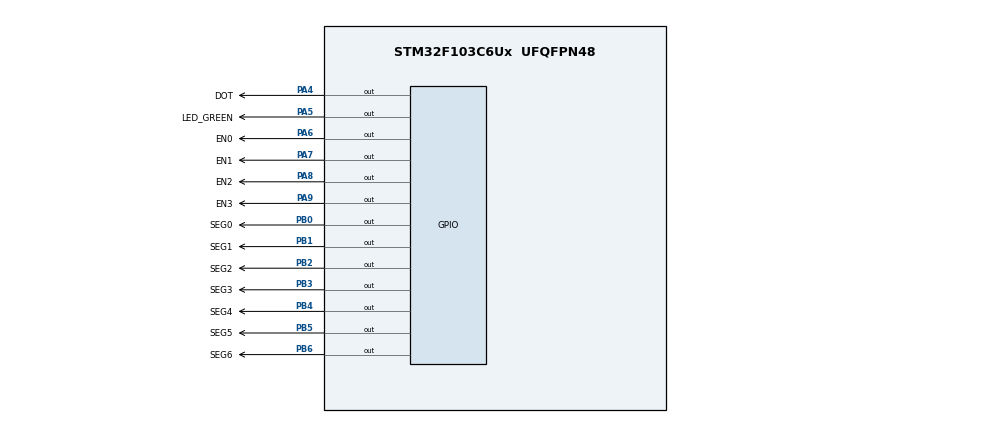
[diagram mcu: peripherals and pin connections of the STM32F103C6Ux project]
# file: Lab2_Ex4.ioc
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Mcu.Family=STM32F1
Mcu.Name=STM32F103C6Ux
Mcu.Package=UFQFPN48
NVIC.PriorityGroup=NVIC_PRIORITYGROUP_4
NVIC.TIM2_IRQn=true\:0\:0\:false\:false\:true\:true\:true\:true
PA4.GPIO_Label=DOT
PA4.Signal=GPIO_Output
PA5.GPIO_Label=LED_GREEN
PA5.Signal=GPIO_Output
PA6.GPIO_Label=EN0
PA6.Signal=GPIO_Output
PA7.GPIO_Label=EN1
PA7.Signal=GPIO_Output
PA8.GPIO_Label=EN2
PA8.Signal=GPIO_Output
PA9.GPIO_Label=EN3
PA9.Signal=GPIO_Output
PB0.GPIO_Label=SEG0
PB0.Signal=GPIO_Output
PB1.GPIO_Label=SEG1
PB1.Signal=GPIO_Output
PB2.GPIO_Label=SEG2
PB2.Signal=GPIO_Output
PB3.GPIO_Label=SEG3
PB3.Signal=GPIO_Output
PB4.GPIO_Label=SEG4
PB4.Signal=GPIO_Output
PB5.GPIO_Label=SEG5
PB5.Signal=GPIO_Output
PB6.GPIO_Label=SEG6
PB6.Signal=GPIO_Output
ProjectManager.HeapSize=0x200
ProjectManager.StackSize=0x400
ProjectManager.TargetToolchain=STM32CubeIDE
RCC.APB1Freq_Value=8000000
RCC.APB2Freq_Value=8000000
TIM2.Period=9
TIM2.Prescaler=7999
VP_SYS_VS_ND.Mode=No_Debug
VP_TIM2_VS_ClockSourceINT.Mode=Internal
board=custom

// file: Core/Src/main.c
/* USER CODE BEGIN Header */
/**
  ******************************************************************************
  * @file           : main.c
  * @brief          : Main program body
  ******************************************************************************
  * @attention
  *
  * Copyright (c) 2026 STMicroelectronics.
  * All rights reserved.
  *
  * This software is licensed under terms that can be found in the LICENSE file
  * in the root directory of this software component.
  * If no LICENSE file comes with this software, it is provided AS-IS.
  *
  ******************************************************************************
  */
/* USER CODE END Header */
#include "main.h"

/* USER CODE BEGIN PTD */
typedef struct {
    GPIO_TypeDef* port;
    uint16_t pin;
} PinRef;
/* USER CODE END PTD */

TIM_HandleTypeDef htim2;

/* USER CODE BEGIN PV */
int digitTick = 0, dotTick = 0;
const int DIGIT_INTERVAL = 25;
const int DOT_INTERVAL = 100;
const int MAX_LED = 4;
int index_led = 0;
int led_buffer[4] = {1, 2, 3, 4};
PinRef segPins[7] = {
		{SEG0_GPIO_Port, SEG0_Pin},
		{SEG1_GPIO_Port, SEG1_Pin},
		{SEG2_GPIO_Port, SEG2_Pin},
		{SEG3_GPIO_Port, SEG3_Pin},
		{SEG4_GPIO_Port, SEG4_Pin},
		{SEG5_GPIO_Port, SEG5_Pin},
		{SEG6_GPIO_Port, SEG6_Pin}
};

PinRef enablePins[4] = {
		{EN0_GPIO_Port, EN0_Pin},
		{EN1_GPIO_Port, EN1_Pin},
		{EN2_GPIO_Port, EN2_Pin},
		{EN3_GPIO_Port, EN3_Pin}
};

const uint8_t seg_table[10] = {
		0x40,	// 0
		0x79,	// 1
		0x24,	// 2
		0x30,	// 3
		0x19,	// 4
		0x12,	// 5
		0x02,	// 6
		0x78,	// 7
		0x00,	// 8
		0x10,	// 9
};
/* USER CODE END PV */

void SystemClock_Config(void);
static void MX_GPIO_Init(void);
static void MX_TIM2_Init(void);
/* USER CODE BEGIN PFP */
void display7SEG(int num);
/* USER CODE END PFP */

int main(void)
{

  /* MCU Configuration--------------------------------------------------------*/

  /* Reset of all peripherals, Initializes the Flash interface and the Systick. */
  HAL_Init();

  /* Configure the system clock */
  SystemClock_Config();

  /* Initialize all configured peripherals */
  MX_GPIO_Init();
  MX_TIM2_Init();
  /* USER CODE BEGIN 2 */
  HAL_TIM_Base_Start_IT(&htim2);
  /* USER CODE END 2 */

  /* Infinite loop */
  while (1)
  {

  }
}

void SystemClock_Config(void)
{
  RCC_OscInitTypeDef RCC_OscInitStruct = {0};
  RCC_ClkInitTypeDef RCC_ClkInitStruct = {0};

  /** Initializes the RCC Oscillators according to the specified parameters
  * in the RCC_OscInitTypeDef structure.
  */
  RCC_OscInitStruct.OscillatorType = RCC_OSCILLATORTYPE_HSI;
  RCC_OscInitStruct.HSIState = RCC_HSI_ON;
  RCC_OscInitStruct.HSICalibrationValue = RCC_HSICALIBRATION_DEFAULT;
  RCC_OscInitStruct.PLL.PLLState = RCC_PLL_NONE;
  if (HAL_RCC_OscConfig(&RCC_OscInitStruct) != HAL_OK)
  {
    Error_Handler();
  }

  /** Initializes the CPU, AHB and APB buses clocks
  */
  RCC_ClkInitStruct.ClockType = RCC_CLOCKTYPE_HCLK|RCC_CLOCKTYPE_SYSCLK
                              |RCC_CLOCKTYPE_PCLK1|RCC_CLOCKTYPE_PCLK2;
  RCC_ClkInitStruct.SYSCLKSource = RCC_SYSCLKSOURCE_HSI;
  RCC_ClkInitStruct.AHBCLKDivider = RCC_SYSCLK_DIV1;
  RCC_ClkInitStruct.APB1CLKDivider = RCC_HCLK_DIV1;
  RCC_ClkInitStruct.APB2CLKDivider = RCC_HCLK_DIV1;

  if (HAL_RCC_ClockConfig(&RCC_ClkInitStruct, FLASH_LATENCY_0) != HAL_OK)
  {
    Error_Handler();
  }
}

static void MX_TIM2_Init(void)
{

  TIM_ClockConfigTypeDef sClockSourceConfig = {0};
  TIM_MasterConfigTypeDef sMasterConfig = {0};

  htim2.Instance = TIM2;
  htim2.Init.Prescaler = 7999;
  htim2.Init.CounterMode = TIM_COUNTERMODE_UP;
  htim2.Init.Period = 9;
  htim2.Init.ClockDivision = TIM_CLOCKDIVISION_DIV1;
  htim2.Init.AutoReloadPreload = TIM_AUTORELOAD_PRELOAD_DISABLE;
  if (HAL_TIM_Base_Init(&htim2) != HAL_OK)
  {
    Error_Handler();
  }
  sClockSourceConfig.ClockSource = TIM_CLOCKSOURCE_INTERNAL;
  if (HAL_TIM_ConfigClockSource(&htim2, &sClockSourceConfig) != HAL_OK)
  {
    Error_Handler();
  }
  sMasterConfig.MasterOutputTrigger = TIM_TRGO_RESET;
  sMasterConfig.MasterSlaveMode = TIM_MASTERSLAVEMODE_DISABLE;
  if (HAL_TIMEx_MasterConfigSynchronization(&htim2, &sMasterConfig) != HAL_OK)
  {
    Error_Handler();
  }

}

static void MX_GPIO_Init(void)
{
  GPIO_InitTypeDef GPIO_InitStruct = {0};

  /* GPIO Ports Clock Enable */
  __HAL_RCC_GPIOA_CLK_ENABLE();
  __HAL_RCC_GPIOB_CLK_ENABLE();

  /*Configure GPIO pin Output Level */
  HAL_GPIO_WritePin(GPIOA, DOT_Pin|LED_GREEN_Pin|EN0_Pin|EN1_Pin
                          |EN2_Pin|EN3_Pin, GPIO_PIN_RESET);

  /*Configure GPIO pin Output Level */
  HAL_GPIO_WritePin(GPIOB, SEG0_Pin|SEG1_Pin|SEG2_Pin|SEG3_Pin
                          |SEG4_Pin|SEG5_Pin|SEG6_Pin, GPIO_PIN_RESET);

  /*Configure GPIO pins : DOT_Pin LED_GREEN_Pin EN0_Pin EN1_Pin
                           EN2_Pin EN3_Pin */
  GPIO_InitStruct.Pin = DOT_Pin|LED_GREEN_Pin|EN0_Pin|EN1_Pin
                          |EN2_Pin|EN3_Pin;
  GPIO_InitStruct.Mode = GPIO_MODE_OUTPUT_PP;
  GPIO_InitStruct.Pull = GPIO_NOPULL;
  GPIO_InitStruct.Speed = GPIO_SPEED_FREQ_LOW;
  HAL_GPIO_Init(GPIOA, &GPIO_InitStruct);

  /*Configure GPIO pins : SEG0_Pin SEG1_Pin SEG2_Pin SEG3_Pin
                           SEG4_Pin SEG5_Pin SEG6_Pin */
  GPIO_InitStruct.Pin = SEG0_Pin|SEG1_Pin|SEG2_Pin|SEG3_Pin
                          |SEG4_Pin|SEG5_Pin|SEG6_Pin;
  GPIO_InitStruct.Mode = GPIO_MODE_OUTPUT_PP;
  GPIO_InitStruct.Pull = GPIO_NOPULL;
  GPIO_InitStruct.Speed = GPIO_SPEED_FREQ_LOW;
  HAL_GPIO_Init(GPIOB, &GPIO_InitStruct);

}

/* USER CODE BEGIN 4 */
void display7SEG(int num){
	if (num < 0 || num > 9) return;
	uint8_t pattern = seg_table[num];

	for (int i=0; i<7; i++){
		GPIO_PinState state = ((pattern >> i) & 0x01) ? GPIO_PIN_SET : GPIO_PIN_RESET;
		HAL_GPIO_WritePin(segPins[i].port, segPins[i].pin, state);
	}
}
void update7SEG(int index){
	for (int i=0; i< MAX_LED ; i++){
		HAL_GPIO_WritePin(enablePins[i].port, enablePins[i].pin, GPIO_PIN_SET);
	}
	switch (index){
		case 0:
			display7SEG(led_buffer[0]);
			HAL_GPIO_WritePin(enablePins[0].port, enablePins[0].pin,GPIO_PIN_RESET);
			break;
		case 1:
			display7SEG(led_buffer[1]);
			HAL_GPIO_WritePin(enablePins[1].port, enablePins[1].pin,GPIO_PIN_RESET);
			break;
		case 2:
			display7SEG(led_buffer[2]);
			HAL_GPIO_WritePin(enablePins[2].port, enablePins[2].pin,GPIO_PIN_RESET);
			break;
		case 3:
			display7SEG(led_buffer[3]);
			HAL_GPIO_WritePin(enablePins[3].port, enablePins[3].pin,GPIO_PIN_RESET);
			break;
		default:
			break;
	}
}

void HAL_TIM_PeriodElapsedCallback(TIM_HandleTypeDef *htim) {
    digitTick++;
    if (digitTick >= DIGIT_INTERVAL) {
        digitTick = 0;
        update7SEG(index_led);
        index_led = (index_led + 1) % MAX_LED;
    }

    dotTick++;
    if (dotTick >= DOT_INTERVAL) {
        dotTick = 0;
        HAL_GPIO_TogglePin(DOT_GPIO_Port, DOT_Pin);
    }
}
/* USER CODE END 4 */

void Error_Handler(void)
{
  __disable_irq();
  while (1)
  {
  }
}
